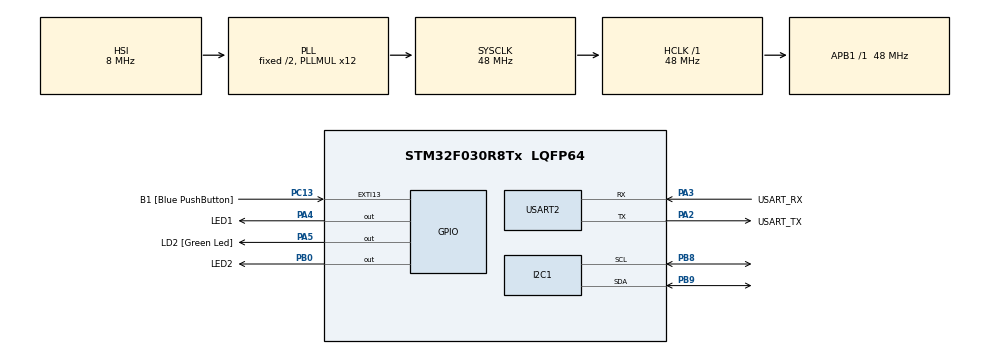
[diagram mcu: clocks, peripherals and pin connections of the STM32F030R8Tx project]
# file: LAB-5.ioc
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Dma.Request0=USART2_RX
Dma.USART2_RX.0.Direction=DMA_PERIPH_TO_MEMORY
Dma.USART2_RX.0.Instance=DMA1_Channel5
Dma.USART2_RX.0.MemDataAlignment=DMA_MDATAALIGN_BYTE
Dma.USART2_RX.0.MemInc=DMA_MINC_ENABLE
Dma.USART2_RX.0.Mode=DMA_CIRCULAR
Dma.USART2_RX.0.PeriphDataAlignment=DMA_PDATAALIGN_BYTE
Dma.USART2_RX.0.PeriphInc=DMA_PINC_DISABLE
Dma.USART2_RX.0.Priority=DMA_PRIORITY_LOW
I2C1.Timing=0x00201D2B
Mcu.Family=STM32F0
Mcu.Name=STM32F030R8Tx
Mcu.Package=LQFP64
NVIC.DMA1_Channel4_5_IRQn=true\:0\:0\:false\:false\:true\:false\:true\:true
PA13.GPIO_Label=TMS
PA13.Mode=Serial_Wire
PA13.Signal=SYS_SWDIO
PA14.GPIO_Label=TCK
PA14.Mode=Serial_Wire
PA14.Signal=SYS_SWCLK
PA2.GPIO_Label=USART_TX
PA2.GPIO_Mode=GPIO_MODE_AF_PP
PA2.GPIO_PuPd=GPIO_NOPULL
PA2.GPIO_Speed=GPIO_SPEED_FREQ_LOW
PA2.Mode=Asynchronous
PA2.Signal=USART2_TX
PA3.GPIO_Label=USART_RX
PA3.GPIO_Mode=GPIO_MODE_AF_PP
PA3.GPIO_PuPd=GPIO_NOPULL
PA3.GPIO_Speed=GPIO_SPEED_FREQ_LOW
PA3.Mode=Asynchronous
PA3.Signal=USART2_RX
PA4.GPIO_Label=LED1
PA4.Signal=GPIO_Output
PA5.GPIO_Label=LD2 [Green Led]
PA5.GPIO_Mode=GPIO_MODE_OUTPUT_PP
PA5.GPIO_PuPd=GPIO_NOPULL
PA5.GPIO_Speed=GPIO_SPEED_FREQ_LOW
PA5.Signal=GPIO_Output
PB0.GPIO_Label=LED2
PB0.Signal=GPIO_Output
PB8.Mode=I2C
PB8.Signal=I2C1_SCL
PB9.Mode=I2C
PB9.Signal=I2C1_SDA
PC13.GPIO_Label=B1 [Blue PushButton]
PC13.GPIO_ModeDefaultEXTI=GPIO_MODE_IT_FALLING
PC13.Signal=GPXTI13
PC14-OSC32_IN.Mode=LSE-External-Oscillator
PC14-OSC32_IN.Signal=RCC_OSC32_IN
PC15-OSC32_OUT.Mode=LSE-External-Oscillator
PC15-OSC32_OUT.Signal=RCC_OSC32_OUT
PF0-OSC_IN.Mode=HSE-External-Clock-Source
PF0-OSC_IN.Signal=RCC_OSC_IN
PF1-OSC_OUT.Signal=RCC_OSC_OUT
ProjectManager.HeapSize=0x200
ProjectManager.StackSize=0x400
ProjectManager.TargetToolchain=STM32CubeIDE
RCC.AHBFreq_Value=48000000
RCC.APB1Freq_Value=48000000
RCC.APB1TimFreq_Value=48000000
RCC.HCLKFreq_Value=48000000
RCC.PLLMUL=RCC_PLL_MUL12
RCC.SYSCLKFreq_VALUE=48000000
RCC.SYSCLKSource=RCC_SYSCLKSOURCE_PLLCLK
USART2.VirtualMode-Asynchronous=VM_ASYNC
board=NUCLEO-F030R8

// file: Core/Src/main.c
/* USER CODE BEGIN Header */
/**
 ******************************************************************************
 * @file           : main.c
 * @brief          : Main program body
 ******************************************************************************
 * @attention
 *
 * Copyright (c) 2025 STMicroelectronics.
 * All rights reserved.
 *
 * This software is licensed under terms that can be found in the LICENSE file
 * in the root directory of this software component.
 * If no LICENSE file comes with this software, it is provided AS-IS.
 *
 ******************************************************************************
 */
/* USER CODE END Header */
#include "main.h"

/* USER CODE BEGIN Includes */
#include <stdio.h>
#include <string.h>
#include <stdlib.h>
/* USER CODE END Includes */

/* USER CODE BEGIN PD */
#define RX_BUFFER_LEN 64
static uint8_t uart_rx_buf[RX_BUFFER_LEN];
static volatile uint16_t uart_rx_read_ptr = 0;
#define uart_rx_write_ptr (RX_BUFFER_LEN - hdma_usart2_rx.Instance->CNDTR)
#define CMD_BUFFER_LEN 256

#define EEPROM_ADDR 0b10100000
/* USER CODE END PD */

I2C_HandleTypeDef hi2c1;

UART_HandleTypeDef huart2;
DMA_HandleTypeDef hdma_usart2_rx;

void SystemClock_Config(void);
static void MX_GPIO_Init(void);
static void MX_DMA_Init(void);
static void MX_USART2_UART_Init(void);
static void MX_I2C1_Init(void);

/* USER CODE BEGIN 0 */
int _write(int file, char const *buf, int n)
{
	/* stdout redirection to UART2 */
	HAL_UART_Transmit(&huart2, (uint8_t*)(buf), n, HAL_MAX_DELAY);
	return n;
}

static void uart_process_command(char *cmd)
{
	char *token = strtok(cmd, " ");
	while (token != NULL)
	{
		if(strcasecmp(token, "HELLO") == 0)
		{
			printf("UART running\n");
		}
		else if(strcasecmp(token, "LED1") == 0)
		{
			token = strtok (NULL, " ");
			if(strcasecmp(token, "ON") == 0)
			{
				HAL_GPIO_WritePin(LED1_GPIO_Port, LED1_Pin, 1);
			}
			else if(strcasecmp(token, "OFF") == 0)
			{
				HAL_GPIO_WritePin(LED1_GPIO_Port, LED1_Pin, 0);
			}
		}
		else if(strcasecmp(token, "LED2") == 0)
		{
			token = strtok (NULL, " ");
			if(strcasecmp(token, "ON") == 0)
			{
				HAL_GPIO_WritePin(LED2_GPIO_Port, LED2_Pin, 1);
			}
			else if(strcasecmp(token, "OFF") == 0)
			{
				HAL_GPIO_WritePin(LED2_GPIO_Port, LED2_Pin, 0);
			}
		}
		else if(strcasecmp(token, "STATUS") == 0)
		{
			printf("LED1: %i ;LED2: %i\n", HAL_GPIO_ReadPin(LED1_GPIO_Port, LED1_Pin), HAL_GPIO_ReadPin(LED2_GPIO_Port, LED2_Pin));
		}
		else if(strcasecmp(token, "READ") == 0)
		{
			char *addr_ch = strtok(NULL, " ");
			if(addr_ch != NULL)
			{
				uint16_t addr = atoi(addr_ch);
				uint8_t value;
				HAL_I2C_Mem_Read(&hi2c1, EEPROM_ADDR, addr, I2C_MEMADD_SIZE_16BIT, &value, 1, 1000);
				printf("Address 0x%04X = 0x%02X\n", addr, value);
			}

		}
		else if(strcasecmp(token, "WRITE") == 0)
		{
			char *addr_ch = strtok(NULL, " ");
			char *value_ch = strtok(NULL, " ");
			if(addr_ch != NULL || value_ch != NULL)
			{
				uint16_t addr = atoi(addr_ch);
				uint8_t value = atoi(value_ch);

				HAL_I2C_Mem_Write(&hi2c1, EEPROM_ADDR, addr, I2C_MEMADD_SIZE_16BIT, &value, 1, 1000);

				/* Check if the EEPROM is ready for a new operation */
				while (HAL_I2C_IsDeviceReady(&hi2c1, EEPROM_ADDR, 300, 1000) != HAL_OK) {}

				printf("OK\n");
			}
		}
		else if(strcasecmp(token, "DUMP") == 0)
		{
			uint8_t value[16];
			HAL_I2C_Mem_Read(&hi2c1, EEPROM_ADDR, 0, I2C_MEMADD_SIZE_16BIT, value, 16, 1000);
			for(uint8_t i = 0; i < 16; i++)
			{
				printf("%02X ", value[i]);
				if(i == 7)
				{
					printf("\n");
				}
			}
			printf("\n");
		}
		else
		{
			printf("Wrong command!\n");
		}
		token = strtok (NULL, " ");
	}
}

static void uart_byte_available(uint8_t c)
{
	static uint16_t cnt;
	static char data[CMD_BUFFER_LEN];
	if (cnt < CMD_BUFFER_LEN && c >= 32 && c <= 126) data[cnt++] = c;
	if ((c == '\n' || c == '\r') && cnt > 0) {
		data[cnt] = '\0';
		uart_process_command(data);
		cnt = 0;
	}
}
/* USER CODE END 0 */

int main(void)
{

  /* MCU Configuration--------------------------------------------------------*/

  /* Reset of all peripherals, Initializes the Flash interface and the Systick. */
  HAL_Init();

  /* Configure the system clock */
  SystemClock_Config();

  /* Initialize all configured peripherals */
  MX_GPIO_Init();
  MX_DMA_Init();
  MX_USART2_UART_Init();
  MX_I2C1_Init();
  /* USER CODE BEGIN 2 */
  HAL_UART_Receive_DMA(&huart2, uart_rx_buf, RX_BUFFER_LEN);
  /* USER CODE END 2 */

  /* Infinite loop */
	while (1)
	{

    /* USER CODE BEGIN 3 */
		//uint8_t c;
		//HAL_UART_Receive(&huart2, &c, 1, HAL_MAX_DELAY);
		//HAL_UART_Transmit(&huart2, &c, 1, HAL_MAX_DELAY);

		while (uart_rx_read_ptr != uart_rx_write_ptr) {
			uint8_t b = uart_rx_buf[uart_rx_read_ptr];
			// increase read pointer
			if (++uart_rx_read_ptr >= RX_BUFFER_LEN) uart_rx_read_ptr = 0;
			// process every received byte with the RX state machine
			uart_byte_available(b);
		}
	}
  /* USER CODE END 3 */
}

void SystemClock_Config(void)
{
  RCC_OscInitTypeDef RCC_OscInitStruct = {0};
  RCC_ClkInitTypeDef RCC_ClkInitStruct = {0};
  RCC_PeriphCLKInitTypeDef PeriphClkInit = {0};

  /** Initializes the RCC Oscillators according to the specified parameters
  * in the RCC_OscInitTypeDef structure.
  */
  RCC_OscInitStruct.OscillatorType = RCC_OSCILLATORTYPE_HSI;
  RCC_OscInitStruct.HSIState = RCC_HSI_ON;
  RCC_OscInitStruct.HSICalibrationValue = RCC_HSICALIBRATION_DEFAULT;
  RCC_OscInitStruct.PLL.PLLState = RCC_PLL_ON;
  RCC_OscInitStruct.PLL.PLLSource = RCC_PLLSOURCE_HSI;
  RCC_OscInitStruct.PLL.PLLMUL = RCC_PLL_MUL12;
  RCC_OscInitStruct.PLL.PREDIV = RCC_PREDIV_DIV1;
  if (HAL_RCC_OscConfig(&RCC_OscInitStruct) != HAL_OK)
  {
    Error_Handler();
  }

  /** Initializes the CPU, AHB and APB buses clocks
  */
  RCC_ClkInitStruct.ClockType = RCC_CLOCKTYPE_HCLK|RCC_CLOCKTYPE_SYSCLK
                              |RCC_CLOCKTYPE_PCLK1;
  RCC_ClkInitStruct.SYSCLKSource = RCC_SYSCLKSOURCE_PLLCLK;
  RCC_ClkInitStruct.AHBCLKDivider = RCC_SYSCLK_DIV1;
  RCC_ClkInitStruct.APB1CLKDivider = RCC_HCLK_DIV1;

  if (HAL_RCC_ClockConfig(&RCC_ClkInitStruct, FLASH_LATENCY_1) != HAL_OK)
  {
    Error_Handler();
  }
  PeriphClkInit.PeriphClockSelection = RCC_PERIPHCLK_I2C1;
  PeriphClkInit.I2c1ClockSelection = RCC_I2C1CLKSOURCE_HSI;
  if (HAL_RCCEx_PeriphCLKConfig(&PeriphClkInit) != HAL_OK)
  {
    Error_Handler();
  }
}

static void MX_I2C1_Init(void)
{

  hi2c1.Instance = I2C1;
  hi2c1.Init.Timing = 0x00201D2B;
  hi2c1.Init.OwnAddress1 = 0;
  hi2c1.Init.AddressingMode = I2C_ADDRESSINGMODE_7BIT;
  hi2c1.Init.DualAddressMode = I2C_DUALADDRESS_DISABLE;
  hi2c1.Init.OwnAddress2 = 0;
  hi2c1.Init.OwnAddress2Masks = I2C_OA2_NOMASK;
  hi2c1.Init.GeneralCallMode = I2C_GENERALCALL_DISABLE;
  hi2c1.Init.NoStretchMode = I2C_NOSTRETCH_DISABLE;
  if (HAL_I2C_Init(&hi2c1) != HAL_OK)
  {
    Error_Handler();
  }

  /** Configure Analogue filter
  */
  if (HAL_I2CEx_ConfigAnalogFilter(&hi2c1, I2C_ANALOGFILTER_ENABLE) != HAL_OK)
  {
    Error_Handler();
  }

  /** Configure Digital filter
  */
  if (HAL_I2CEx_ConfigDigitalFilter(&hi2c1, 0) != HAL_OK)
  {
    Error_Handler();
  }

}

static void MX_USART2_UART_Init(void)
{

  huart2.Instance = USART2;
  huart2.Init.BaudRate = 38400;
  huart2.Init.WordLength = UART_WORDLENGTH_8B;
  huart2.Init.StopBits = UART_STOPBITS_1;
  huart2.Init.Parity = UART_PARITY_NONE;
  huart2.Init.Mode = UART_MODE_TX_RX;
  huart2.Init.HwFlowCtl = UART_HWCONTROL_NONE;
  huart2.Init.OverSampling = UART_OVERSAMPLING_16;
  huart2.Init.OneBitSampling = UART_ONE_BIT_SAMPLE_DISABLE;
  huart2.AdvancedInit.AdvFeatureInit = UART_ADVFEATURE_NO_INIT;
  if (HAL_UART_Init(&huart2) != HAL_OK)
  {
    Error_Handler();
  }

}

static void MX_DMA_Init(void)
{

  /* DMA controller clock enable */
  __HAL_RCC_DMA1_CLK_ENABLE();

  /* DMA interrupt init */
  /* DMA1_Channel4_5_IRQn interrupt configuration */
  HAL_NVIC_SetPriority(DMA1_Channel4_5_IRQn, 0, 0);
  HAL_NVIC_EnableIRQ(DMA1_Channel4_5_IRQn);

}

static void MX_GPIO_Init(void)
{
  GPIO_InitTypeDef GPIO_InitStruct = {0};

  /* GPIO Ports Clock Enable */
  __HAL_RCC_GPIOC_CLK_ENABLE();
  __HAL_RCC_GPIOF_CLK_ENABLE();
  __HAL_RCC_GPIOA_CLK_ENABLE();
  __HAL_RCC_GPIOB_CLK_ENABLE();

  /*Configure GPIO pin Output Level */
  HAL_GPIO_WritePin(GPIOA, LED1_Pin|LD2_Pin, GPIO_PIN_RESET);

  /*Configure GPIO pin Output Level */
  HAL_GPIO_WritePin(LED2_GPIO_Port, LED2_Pin, GPIO_PIN_RESET);

  /*Configure GPIO pin : B1_Pin */
  GPIO_InitStruct.Pin = B1_Pin;
  GPIO_InitStruct.Mode = GPIO_MODE_IT_FALLING;
  GPIO_InitStruct.Pull = GPIO_NOPULL;
  HAL_GPIO_Init(B1_GPIO_Port, &GPIO_InitStruct);

  /*Configure GPIO pins : LED1_Pin LD2_Pin */
  GPIO_InitStruct.Pin = LED1_Pin|LD2_Pin;
  GPIO_InitStruct.Mode = GPIO_MODE_OUTPUT_PP;
  GPIO_InitStruct.Pull = GPIO_NOPULL;
  GPIO_InitStruct.Speed = GPIO_SPEED_FREQ_LOW;
  HAL_GPIO_Init(GPIOA, &GPIO_InitStruct);

  /*Configure GPIO pin : LED2_Pin */
  GPIO_InitStruct.Pin = LED2_Pin;
  GPIO_InitStruct.Mode = GPIO_MODE_OUTPUT_PP;
  GPIO_InitStruct.Pull = GPIO_NOPULL;
  GPIO_InitStruct.Speed = GPIO_SPEED_FREQ_LOW;
  HAL_GPIO_Init(LED2_GPIO_Port, &GPIO_InitStruct);

}

void Error_Handler(void)
{
	__disable_irq();
	while (1)
	{
	}
}
